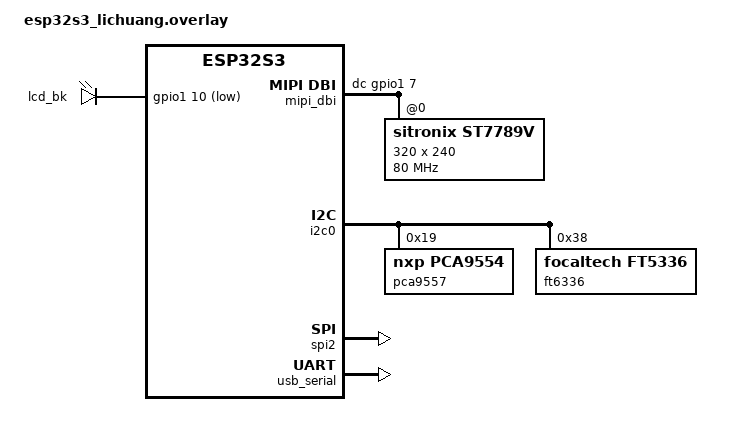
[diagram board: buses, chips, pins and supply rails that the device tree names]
#include <zephyr/dt-bindings/mipi_dbi/mipi_dbi.h>
#include <zephyr/dt-bindings/gpio/gpio.h>

/ {
  chosen {
    zephyr,display = &st7789v;
    zephyr,touch = &ft6336;
    zephyr,console = &usb_serial;
		zephyr,shell-uart = &usb_serial;
  };

  aliases {
    backlight = &lcd_bk;
    app-uart = &uart0;
  };

  mipi_dbi {
    compatible = "zephyr,mipi-dbi-spi";
    dc-gpios = <&gpio1 7 GPIO_ACTIVE_HIGH>;
    spi-dev = <&spi2>;
    write-only;
    #address-cells = <1>;
    #size-cells = <0>;

    st7789v: st7789v@0 {
      compatible = "sitronix,st7789v";
      mipi-max-frequency = <DT_FREQ_M(80)>;
      reg = <0>;
      width = <320>;
      height = <240>;
      x-offset = <0>;    // 0x2a
      y-offset = <0>;    // 0x2b
      vcom = <0x32>;     // 0xbb
      gctrl = <0x35>;
      vrhs = <0x15>;     // 0xc3
      vdvs = <0x20>;     // 0xc4
      mdac = <0x60>;     // 0x36 horizontal 0x00 0xc0 0x70 0xa0 0x60
      gamma = <0x01>;    // no gamma
      colmod = <0x66>;   // 0x3a，0x05 0x55 0x66 
      lcm = <0x2c>;
      porch-param = [ 0c 0c 00 33 33  ];   // 0xb2
      cmd2en-param = [ 5a 69 02 01  ];     // 0xdf
      pwctrl1-param = [ a4 a1  ];          // 0xd0
      pvgam-param = [ d0 08 0e 09 09 05 31 33 48 17 14 15 31 34  ]; // 0xe0
      nvgam-param = [ d0 08 0e 09 09 15 31 33 48 17 14 15 31 34  ]; // 0xe1
      ram-param = [ 00 F0  ];
      rgb-param = [ CD 08 14  ];
      mipi-mode = "MIPI_DBI_MODE_SPI_4WIRE";
    };
  };

  leds {
    compatible = "gpio-leds";
    status = "okay";
    lcd_bk: led_0 {
      gpios = <&gpio1 10 GPIO_ACTIVE_LOW>;
    };
  };

  lvgl_pointer {
		compatible = "zephyr,lvgl-pointer-input";
		input = <&ft6336>;
    invert-y;
	};
};

&i2c0 {
  status = "okay";
  pca9557: pca9557@19 {
    compatible = "nxp,pca9554";
    reg = <0x19>;
    gpio-controller;
    #gpio-cells = <2>;
    ngpios = <8>;
  };

  ft6336: ft5336@38 {
    status = "okay";
    compatible = "focaltech,ft5336";
    reg = <0x38>;
  };
};

&spim2_default {
  group1 {
    pinmux = <SPIM2_SCLK_GPIO41>;
  };
  group2 {
    pinmux = <SPIM2_MOSI_GPIO40>;
    output-low;
  };
};

&spi2 {
  #address-cells = <1>;
  #size-cells = <0>;
  status = "okay";
  pinctrl-0 = <&spim2_default>;
  cs-gpios = <&pca9557 0 GPIO_ACTIVE_LOW>;
  pinctrl-names = "default";
};

&dma {
    status = "okay";
};

&usb_serial {
	status = "okay";
};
